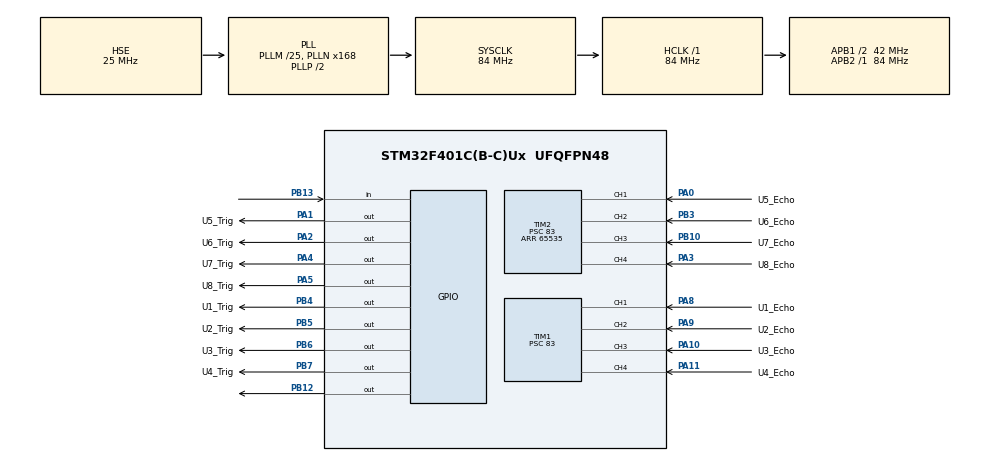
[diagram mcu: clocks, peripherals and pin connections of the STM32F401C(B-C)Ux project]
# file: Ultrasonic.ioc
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Mcu.Family=STM32F4
Mcu.Name=STM32F401C(B-C)Ux
Mcu.Package=UFQFPN48
NVIC.PriorityGroup=NVIC_PRIORITYGROUP_4
NVIC.TIM1_CC_IRQn=true\:0\:0\:false\:false\:true\:true\:true\:true
NVIC.TIM1_TRG_COM_TIM11_IRQn=true\:15\:0\:false\:false\:true\:false\:true\:true
NVIC.TIM1_UP_TIM10_IRQn=true\:0\:0\:false\:false\:true\:true\:true\:true
NVIC.TIM2_IRQn=true\:0\:0\:false\:false\:true\:true\:true\:true
NVIC.TimeBase=TIM1_TRG_COM_TIM11_IRQn
NVIC.TimeBaseIP=TIM11
PA0-WKUP.GPIO_Label=U5_Echo
PA0-WKUP.Signal=S_TIM2_CH1_ETR
PA1.GPIO_Label=U5_Trig
PA1.Signal=GPIO_Output
PA10.GPIO_Label=U3_Echo
PA10.Signal=S_TIM1_CH3
PA11.GPIO_Label=U4_Echo
PA11.Signal=S_TIM1_CH4
PA13.Mode=Serial_Wire
PA13.Signal=SYS_JTMS-SWDIO
PA14.Mode=Serial_Wire
PA14.Signal=SYS_JTCK-SWCLK
PA2.GPIO_Label=U6_Trig
PA2.Signal=GPIO_Output
PA3.GPIO_Label=U8_Echo
PA3.Signal=S_TIM2_CH4
PA4.GPIO_Label=U7_Trig
PA4.Signal=GPIO_Output
PA5.GPIO_Label=U8_Trig
PA5.Signal=GPIO_Output
PA8.GPIO_Label=U1_Echo
PA8.Signal=S_TIM1_CH1
PA9.GPIO_Label=U2_Echo
PA9.Signal=S_TIM1_CH2
PB10.GPIO_Label=U7_Echo
PB10.Signal=S_TIM2_CH3
PB12.Signal=GPIO_Output
PB13.Signal=GPIO_Input
PB3.GPIO_Label=U6_Echo
PB3.Signal=S_TIM2_CH2
PB4.GPIO_Label=U1_Trig
PB4.Signal=GPIO_Output
PB5.GPIO_Label=U2_Trig
PB5.Signal=GPIO_Output
PB6.GPIO_Label=U3_Trig
PB6.Signal=GPIO_Output
PB7.GPIO_Label=U4_Trig
PB7.Signal=GPIO_Output
PH0\ -\ OSC_IN.Mode=HSE-External-Oscillator
PH0\ -\ OSC_IN.Signal=RCC_OSC_IN
PH1\ -\ OSC_OUT.Mode=HSE-External-Oscillator
PH1\ -\ OSC_OUT.Signal=RCC_OSC_OUT
ProjectManager.HeapSize=0x200
ProjectManager.StackSize=0x400
ProjectManager.TargetToolchain=STM32CubeIDE
RCC.48MHZClocksFreq_Value=42000000
RCC.AHBFreq_Value=84000000
RCC.APB1CLKDivider=RCC_HCLK_DIV2
RCC.APB1Freq_Value=42000000
RCC.APB1TimFreq_Value=84000000
RCC.APB2Freq_Value=84000000
RCC.APB2TimFreq_Value=84000000
RCC.CortexFreq_Value=84000000
RCC.HCLKFreq_Value=84000000
RCC.HSE_VALUE=25000000
RCC.HSI_VALUE=16000000
RCC.LSE_VALUE=32768
RCC.PLLM=25
RCC.PLLN=168
RCC.PLLSourceVirtual=RCC_PLLSOURCE_HSE
RCC.SYSCLKFreq_VALUE=84000000
RCC.SYSCLKSource=RCC_SYSCLKSOURCE_PLLCLK
RCC.VCOOutputFreq_Value=168000000
SH.S_TIM1_CH1.0=TIM1_CH1,Input_Capture1_from_TI1
SH.S_TIM1_CH2.0=TIM1_CH2,Input_Capture2_from_TI2
SH.S_TIM1_CH3.0=TIM1_CH3,Input_Capture3_from_TI3
SH.S_TIM1_CH4.0=TIM1_CH4,Input_Capture4_from_TI4
SH.S_TIM2_CH1_ETR.0=TIM2_CH1,Input_Capture1_from_TI1
SH.S_TIM2_CH2.0=TIM2_CH2,Input_Capture2_from_TI2
SH.S_TIM2_CH3.0=TIM2_CH3,Input_Capture3_from_TI3
SH.S_TIM2_CH4.0=TIM2_CH4,Input_Capture4_from_TI4
TIM1.AutoReloadPreload=TIM_AUTORELOAD_PRELOAD_ENABLE
TIM1.Channel-Input_Capture1_from_TI1=TIM_CHANNEL_1
TIM1.Channel-Input_Capture2_from_TI2=TIM_CHANNEL_2
TIM1.Channel-Input_Capture3_from_TI3=TIM_CHANNEL_3
TIM1.Channel-Input_Capture4_from_TI4=TIM_CHANNEL_4
TIM1.ICFilter_CH2=15
TIM1.ICFilter_CH3=15
TIM1.ICFilter_CH4=15
TIM1.ICPolarity_CH1=TIM_INPUTCHANNELPOLARITY_BOTHEDGE
TIM1.ICPolarity_CH2=TIM_INPUTCHANNELPOLARITY_BOTHEDGE
TIM1.ICPolarity_CH3=TIM_INPUTCHANNELPOLARITY_BOTHEDGE
TIM1.ICPolarity_CH4=TIM_INPUTCHANNELPOLARITY_BOTHEDGE
TIM1.ICPrescaler-Input_Capture1_from_TI1=TIM_ICPSC_DIV1
TIM1.ICPrescaler-Input_Capture2_from_TI2=TIM_ICPSC_DIV1
TIM1.ICPrescaler-Input_Capture3_from_TI3=TIM_ICPSC_DIV1
TIM1.ICPrescaler-Input_Capture4_from_TI4=TIM_ICPSC_DIV1
TIM1.Prescaler=83
TIM2.AutoReloadPreload=TIM_AUTORELOAD_PRELOAD_ENABLE
TIM2.Channel-Input_Capture1_from_TI1=TIM_CHANNEL_1
TIM2.Channel-Input_Capture2_from_TI2=TIM_CHANNEL_2
TIM2.Channel-Input_Capture3_from_TI3=TIM_CHANNEL_3
TIM2.Channel-Input_Capture4_from_TI4=TIM_CHANNEL_4
TIM2.ICFilter_CH1=15
TIM2.ICFilter_CH2=15
TIM2.ICFilter_CH3=15
TIM2.ICFilter_CH4=15
TIM2.ICPolarity_CH1=TIM_INPUTCHANNELPOLARITY_BOTHEDGE
TIM2.ICPolarity_CH2=TIM_INPUTCHANNELPOLARITY_BOTHEDGE
TIM2.ICPolarity_CH3=TIM_INPUTCHANNELPOLARITY_BOTHEDGE
TIM2.ICPolarity_CH4=TIM_INPUTCHANNELPOLARITY_BOTHEDGE
TIM2.Period=65535
TIM2.Prescaler=83
VP_SYS_VS_tim11.Mode=TIM11
VP_TIM1_VS_ClockSourceINT.Mode=Internal
VP_TIM2_VS_ClockSourceINT.Mode=Internal
board=custom

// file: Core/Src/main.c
/* USER CODE BEGIN Header */
/**
  ******************************************************************************
  * @file           : main.c
  * @brief          : Main program body
  ******************************************************************************
  * @attention
  *
  * Copyright (c) 2024 STMicroelectronics.
  * All rights reserved.
  *
  * This software is licensed under terms that can be found in the LICENSE file
  * in the root directory of this software component.
  * If no LICENSE file comes with this software, it is provided AS-IS.
  *
  ******************************************************************************
  */
/* USER CODE END Header */
#include "main.h"
#include "tim.h"
#include "gpio.h"
#include "stdio.h"
#include <math.h>

#include "hx711.h"

/* USER CODE BEGIN PD */
#define FILTER_SIZE 5
/* USER CODE END PD */

/* USER CODE BEGIN PV */
//    GPIO_TypeDef *ports[] = {GPIOB, GPIOB, GPIOB, GPIOB, GPIOA, GPIOA, GPIOA, GPIOA};
//    uint16_t pins[] = {GPIO_PIN_4, GPIO_PIN_5, GPIO_PIN_6, GPIO_PIN_7,
//                       GPIO_PIN_1, GPIO_PIN_2, GPIO_PIN_4, GPIO_PIN_5};
/* USER CODE END PV */

void SystemClock_Config(void);

/* USER CODE BEGIN 0 */
uint32_t micros(void) {
    register uint32_t ms, cycle_cnt;

    // Ensure atomic reading of HAL_GetTick() and the timer count
    do {
        ms = HAL_GetTick();  // Millisecond tick count
        cycle_cnt = TIM11->CNT;  // Timer count for microseconds
    } while (ms != HAL_GetTick());  // Make sure ms has not changed

    // Return the time in microseconds
    return (ms * 1000) + cycle_cnt;
}

// @brief: Busy wait delay for a given number of microseconds (us)
void delay_us(uint32_t us) {
    uint32_t start = micros();  // Record the start time
    // Busy wait loop until the required delay has passed
    while ((micros() - start) < us) {
        asm volatile ("nop");  // No-operation instruction to prevent optimization
    }
}

// Trigger the ultrasonic sensor
void triggerUltrasonicSensor() {
    HAL_GPIO_WritePin(GPIOB, GPIO_PIN_4, GPIO_PIN_SET);
    delay_us(10);  // Limit rang
    HAL_GPIO_WritePin(GPIOB, GPIO_PIN_4, GPIO_PIN_RESET);
    delay_us(10);
    HAL_GPIO_WritePin(GPIOB, GPIO_PIN_5, GPIO_PIN_SET);
    delay_us(10);  // Limit rang
    HAL_GPIO_WritePin(GPIOB, GPIO_PIN_5, GPIO_PIN_RESET);
    delay_us(10);
    HAL_GPIO_WritePin(GPIOB, GPIO_PIN_6, GPIO_PIN_SET);
    delay_us(10);  // Limit rang
    HAL_GPIO_WritePin(GPIOB, GPIO_PIN_6, GPIO_PIN_RESET);
    delay_us(10);
    HAL_GPIO_WritePin(GPIOB, GPIO_PIN_7, GPIO_PIN_SET);
    delay_us(10);  // Limit rang
    HAL_GPIO_WritePin(GPIOB, GPIO_PIN_7, GPIO_PIN_RESET);
    delay_us(10);
    HAL_GPIO_WritePin(GPIOA, GPIO_PIN_1, GPIO_PIN_SET);
    delay_us(10);  // Limit rang
    HAL_GPIO_WritePin(GPIOA, GPIO_PIN_1, GPIO_PIN_RESET);
    delay_us(10);
    HAL_GPIO_WritePin(GPIOA, GPIO_PIN_2, GPIO_PIN_SET);
    delay_us(10);  // Limit rang
    HAL_GPIO_WritePin(GPIOA, GPIO_PIN_2, GPIO_PIN_RESET);
    delay_us(10);
    HAL_GPIO_WritePin(GPIOA, GPIO_PIN_4, GPIO_PIN_SET);
    delay_us(10);  // Limit rang
    HAL_GPIO_WritePin(GPIOA, GPIO_PIN_4, GPIO_PIN_RESET);
    delay_us(10);
    HAL_GPIO_WritePin(GPIOA, GPIO_PIN_5, GPIO_PIN_SET);
    delay_us(10);  // Limit rang
    HAL_GPIO_WritePin(GPIOA, GPIO_PIN_5, GPIO_PIN_RESET);
    delay_us(10);
}

//void triggerUltrasonicSensor() {
//    GPIO_TypeDef *ports[] = {U1_Trig_GPIO_Port, U2_Trig_GPIO_Port,U3_Trig_GPIO_Port, U4_Trig_GPIO_Port,
//    		                 U5_Trig_GPIO_Port, U6_Trig_GPIO_Port, U7_Trig_GPIO_Port, U8_Trig_GPIO_Port};
//    uint16_t pins[] = {U1_Trig_Pin, U2_Trig_Pin, U3_Trig_Pin, U4_Trig_Pin,
//    		           U5_Trig_Pin, U6_Trig_Pin, U7_Trig_Pin, U8_Trig_Pin};
//
//    for (int i = 0; i < 8; i++) {
//        HAL_GPIO_WritePin(ports[i], pins[i], GPIO_PIN_SET);
//        delay_us(10);  // Trigger pulse width
//        HAL_GPIO_WritePin(ports[i], pins[i], GPIO_PIN_RESET);
//        delay_us(10);  // Delay between triggers
//    }
//}

static uint32_t startTimes[8] = {0};
static uint32_t endTimes[8] = {0};
static float distances[8] = {0};

void HAL_TIM_IC_CaptureCallback(TIM_HandleTypeDef *htim) {

    if (htim->Instance == TIM1) { // Check the timer instance
        if (htim->Channel == HAL_TIM_ACTIVE_CHANNEL_1) {
            if (HAL_GPIO_ReadPin(GPIOA, GPIO_PIN_8) == GPIO_PIN_SET) { // Rising edge
                startTimes[0] = __HAL_TIM_GET_COUNTER(htim);
            } else { // Falling edge
                endTimes[0] = __HAL_TIM_GET_COUNTER(htim);
                uint32_t pulseWidth = endTimes[0] - startTimes[0];
                distances[0] = (pulseWidth * 0.0343) / 2; // Calculate distance
            }
        }if (htim->Channel == HAL_TIM_ACTIVE_CHANNEL_2) {
            if (HAL_GPIO_ReadPin(GPIOA, GPIO_PIN_9) == GPIO_PIN_SET) {
                startTimes[1] = __HAL_TIM_GET_COUNTER(htim);
            } else {
                endTimes[1] = __HAL_TIM_GET_COUNTER(htim);
                uint32_t pulseWidth = endTimes[1] - startTimes[1];
                distances[1] = (pulseWidth * 0.0343) / 2;
            }
        }if (htim->Channel == HAL_TIM_ACTIVE_CHANNEL_3) {
            if (HAL_GPIO_ReadPin(GPIOA, GPIO_PIN_10) == GPIO_PIN_SET) {
                startTimes[2] = __HAL_TIM_GET_COUNTER(htim);
            } else {
                endTimes[2] = __HAL_TIM_GET_COUNTER(htim);
                uint32_t pulseWidth = endTimes[2] - startTimes[2];
                distances[2] = (pulseWidth * 0.0343) / 2;
            }
        }if (htim->Channel == HAL_TIM_ACTIVE_CHANNEL_4) {
            if (HAL_GPIO_ReadPin(GPIOA, GPIO_PIN_11) == GPIO_PIN_SET) {
                startTimes[3] = __HAL_TIM_GET_COUNTER(htim);
            } else {
                endTimes[3] = __HAL_TIM_GET_COUNTER(htim);
                uint32_t pulseWidth = endTimes[3] - startTimes[3];
                distances[3] = (pulseWidth * 0.0343) / 2;
            }
        }
    }else if (htim->Instance == TIM2) { // Check the timer instance
        if (htim->Channel == HAL_TIM_ACTIVE_CHANNEL_1) {
            if (HAL_GPIO_ReadPin(GPIOA, GPIO_PIN_0) == GPIO_PIN_SET) { // Rising edge
                startTimes[4] = __HAL_TIM_GET_COUNTER(htim);
            } else { // Falling edge
                endTimes[4] = __HAL_TIM_GET_COUNTER(htim);
                uint32_t pulseWidth = endTimes[4] - startTimes[4];
                distances[4] = (pulseWidth * 0.0343) / 2; // Calculate distance
            }
        }if (htim->Channel == HAL_TIM_ACTIVE_CHANNEL_2) {
            if (HAL_GPIO_ReadPin(GPIOB, GPIO_PIN_2) == GPIO_PIN_SET) {
                startTimes[5] = __HAL_TIM_GET_COUNTER(htim);
            } else {
                endTimes[5] = __HAL_TIM_GET_COUNTER(htim);
                uint32_t pulseWidth = endTimes[5] - startTimes[5];
                distances[5] = (pulseWidth * 0.0343) / 2;
            }
        }if (htim->Channel == HAL_TIM_ACTIVE_CHANNEL_3) {
            if (HAL_GPIO_ReadPin(GPIOB, GPIO_PIN_10) == GPIO_PIN_SET) {
                startTimes[6] = __HAL_TIM_GET_COUNTER(htim);
            } else {
                endTimes[6] = __HAL_TIM_GET_COUNTER(htim);
                uint32_t pulseWidth = endTimes[6] - startTimes[6];
                distances[6] = (pulseWidth * 0.0343) / 2;
            }
        }if (htim->Channel == HAL_TIM_ACTIVE_CHANNEL_4) {
            if (HAL_GPIO_ReadPin(GPIOA, GPIO_PIN_3) == GPIO_PIN_SET) {
                startTimes[7] = __HAL_TIM_GET_COUNTER(htim);
            } else {
                endTimes[7] = __HAL_TIM_GET_COUNTER(htim);
                uint32_t pulseWidth = endTimes[7] - startTimes[7];
                distances[7] = (pulseWidth * 0.0343) / 2;
            }
        }
    }
}

float distanceBuffer[FILTER_SIZE] = {0};
uint8_t bufferIndex = 0;

float applyMovingAverage(float newDistance){
    distanceBuffer[bufferIndex] = newDistance;
    bufferIndex = (bufferIndex + 1) % FILTER_SIZE;

    float sum = 0;
    for (int i = 0; i < FILTER_SIZE; i++) {
        sum += distanceBuffer[i];
    }

    return sum / FILTER_SIZE;
}

HX711 hx711;
//void HAL_TIM_IC_CaptureCallback(TIM_HandleTypeDef *htim) {
//    // Array of timer instances and channels
//    TIM_TypeDef *timInstances[] = {TIM1, TIM2};
//    GPIO_TypeDef *gpioPorts[] = {U1_Echo_GPIO_Port,U2_Echo_GPIO_Port, U3_Echo_GPIO_Port, U4_Echo_GPIO_Port,
//    		                     U5_Echo_GPIO_Port, U6_Echo_GPIO_Port, U7_Echo_GPIO_Port, U8_Echo_GPIO_Port};
//    uint16_t gpioPins[] = {U1_Echo_Pin, U2_Echo_Pin, U3_Echo_Pin, U4_Echo_Pin,
//    		               U5_Echo_Pin, U6_Echo_Pin, U7_Echo_Pin, U8_Echo_Pin};
//
//    for (int i = 0; i < 2; i++) { // Loop over TIM1 and TIM2
//        if (htim->Instance == timInstances[i]) {
//            for (int ch = 0; ch < 4; ch++) { // Loop over channels 1-4
//                if (htim->Channel == (HAL_TIM_ACTIVE_CHANNEL_1 + ch)) {
//                    int idx = (i * 4) + ch; // Calculate array index
//                    if (HAL_GPIO_ReadPin(gpioPorts[idx], gpioPins[idx]) == GPIO_PIN_SET) { // Rising edge
//                        startTimes[idx] = __HAL_TIM_GET_COUNTER(htim);
//                    } else { // Falling edge
//                        endTimes[idx] = __HAL_TIM_GET_COUNTER(htim);
//                        uint32_t pulseWidth = endTimes[idx] - startTimes[idx];
//                        distances[idx] = (pulseWidth * 0.0343) / 2; // Calculate distance
//                    }
//                }
//            }
//        }
//    }
//}

//void InitTimers() {
//    TIM_HandleTypeDef *timers[] = {&htim1, &htim2}; // Array of timer handles
//
//    for (int i = 0; i < 2; i++) { // Loop over timers
//        for (int ch = TIM_CHANNEL_1; ch <= TIM_CHANNEL_4; ch += 1) { // Loop over channels 1-4
//            HAL_TIM_IC_Start_IT(timers[i], ch); // Start Input Capture interrupt
//        }
//    }
//}

/* USER CODE END 0 */

int main(void)
{

  /* MCU Configuration--------------------------------------------------------*/

  /* Reset of all peripherals, Initializes the Flash interface and the Systick. */
  HAL_Init();

  /* Configure the system clock */
  SystemClock_Config();

  /* Initialize all configured peripherals */
  MX_GPIO_Init();
  MX_TIM1_Init();
  MX_TIM2_Init();

  // Setup HX711
//  hx711.gpioSck = GPIOB;
//  hx711.gpioData = GPIOB;
//  hx711.pinSck = GPIO_PIN_13;
//  hx711.pinData = GPIO_PIN_12;
//  hx711.gain = 1;
//
//  HX711_Init(hx711);
//
//  hx711 = HX711_Tare(hx711, 10);
  /* USER CODE BEGIN 2 */

//  InitTimers();

 HAL_TIM_IC_Start_IT(&htim1, TIM_CHANNEL_1);
 HAL_TIM_IC_Start_IT(&htim1, TIM_CHANNEL_2);
 HAL_TIM_IC_Start_IT(&htim1, TIM_CHANNEL_3);
 HAL_TIM_IC_Start_IT(&htim1, TIM_CHANNEL_4);

 HAL_TIM_IC_Start_IT(&htim2, TIM_CHANNEL_1);
 HAL_TIM_IC_Start_IT(&htim2, TIM_CHANNEL_2);
 HAL_TIM_IC_Start_IT(&htim2, TIM_CHANNEL_3);
 HAL_TIM_IC_Start_IT(&htim2, TIM_CHANNEL_4);

  /* USER CODE END 2 */

  /* Infinite loop */
  while (1)
  {

    /* USER CODE BEGIN 3 */

//      int average_value = HX711_Average_Value(hx711, 5);
//      int net_value = average_value - hx711.offset;
//      float weight_in_grams = net_value / SCALE_FACTOR;
//
//      // Output weight
//      printf("Weight: %.2f grams\n", weight_in_grams); // @suppress("Float formatting support")
//
//      HAL_Delay(500);

	  triggerUltrasonicSensor();
//	  applyMovingAverage();
	  HAL_Delay(5);
  }
  /* USER CODE END 3 */
}

void SystemClock_Config(void)
{
  RCC_OscInitTypeDef RCC_OscInitStruct = {0};
  RCC_ClkInitTypeDef RCC_ClkInitStruct = {0};

  /** Configure the main internal regulator output voltage
  */
  __HAL_RCC_PWR_CLK_ENABLE();
  __HAL_PWR_VOLTAGESCALING_CONFIG(PWR_REGULATOR_VOLTAGE_SCALE2);

  /** Initializes the RCC Oscillators according to the specified parameters
  * in the RCC_OscInitTypeDef structure.
  */
  RCC_OscInitStruct.OscillatorType = RCC_OSCILLATORTYPE_HSE;
  RCC_OscInitStruct.HSEState = RCC_HSE_ON;
  RCC_OscInitStruct.PLL.PLLState = RCC_PLL_ON;
  RCC_OscInitStruct.PLL.PLLSource = RCC_PLLSOURCE_HSE;
  RCC_OscInitStruct.PLL.PLLM = 25;
  RCC_OscInitStruct.PLL.PLLN = 168;
  RCC_OscInitStruct.PLL.PLLP = RCC_PLLP_DIV2;
  RCC_OscInitStruct.PLL.PLLQ = 4;
  if (HAL_RCC_OscConfig(&RCC_OscInitStruct) != HAL_OK)
  {
    Error_Handler();
  }

  /** Initializes the CPU, AHB and APB buses clocks
  */
  RCC_ClkInitStruct.ClockType = RCC_CLOCKTYPE_HCLK|RCC_CLOCKTYPE_SYSCLK
                              |RCC_CLOCKTYPE_PCLK1|RCC_CLOCKTYPE_PCLK2;
  RCC_ClkInitStruct.SYSCLKSource = RCC_SYSCLKSOURCE_PLLCLK;
  RCC_ClkInitStruct.AHBCLKDivider = RCC_SYSCLK_DIV1;
  RCC_ClkInitStruct.APB1CLKDivider = RCC_HCLK_DIV2;
  RCC_ClkInitStruct.APB2CLKDivider = RCC_HCLK_DIV1;

  if (HAL_RCC_ClockConfig(&RCC_ClkInitStruct, FLASH_LATENCY_2) != HAL_OK)
  {
    Error_Handler();
  }
}

void HAL_TIM_PeriodElapsedCallback(TIM_HandleTypeDef *htim)
{
  if (htim->Instance == TIM11) {
    HAL_IncTick();
  }
}

void Error_Handler(void)
{
  __disable_irq();
  while (1)
  {
  }
}
